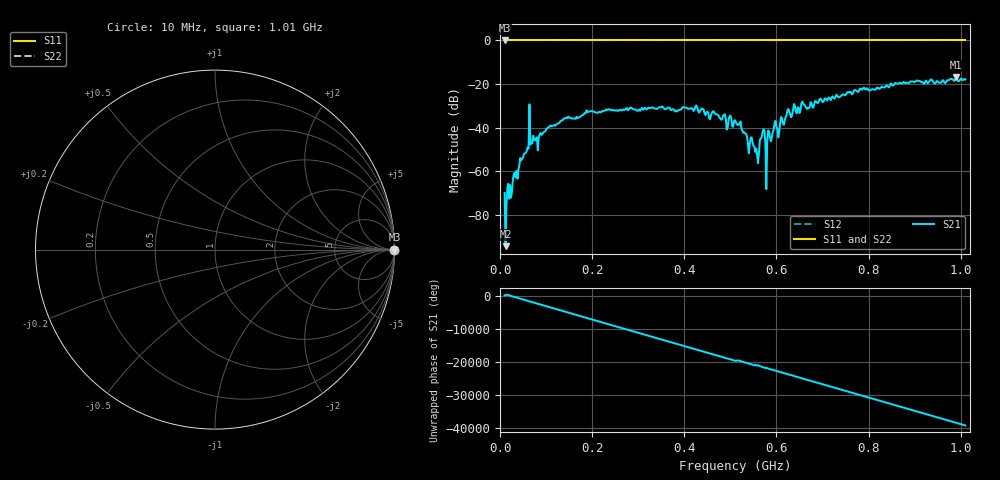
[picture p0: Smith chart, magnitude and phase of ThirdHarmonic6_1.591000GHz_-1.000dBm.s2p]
! 8/16/2025 6:57:23 PM
! C:\ANRITSUVNA\TEMP\TEMP.S2P
! CHANNEL.1
! TR.MEASUREMENT
! RAW.DATA
! RF.CORRECTION.OFF
! AVERAGING.OFF
! IF.BANDWIDTH: 5KHZ
! SWEEPTYPE:  FREQ.SWEEP(Linear)
! Reference Plane Port Info
! PORT:  PORT1  PORT2
! DISTANCE:  0  m  0  m
! TIME:  0  s  0  s
! PHASE.OFFSET:  0  deg.  0  deg.
! LOSS:  0  dB  0  dB
! REF.LOSS:  0  dB  0  dB
! REF.FREQ:  0  Hz  0  Hz
! Power Info
! POWER:  -20  dBm  -20  dBm
! EFF.POWER:  -20  dBm  -20  dBm
! SOURCE.ATTEN:  0  dB  0  dB
! TEST.ATTEN:  0  dB  0  dB
# GHZ S RI R 50.0
! FREQ.GHZ  S11RE  S11IM  S21RE  S21IM  S12RE  S12IM  S22RE  S22IM
!; PortSelection: Port_12
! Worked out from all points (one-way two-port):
!   501 points, 10 MHz to 1.01 GHz, reference 50 ohm
!   highest |S21| = -16.87 dB at 990 MHz (marker M1); lowest = -94.2 dB at 12 MHz (marker M2)
!   lowest |S11| = 0.0 dB at 10 MHz (marker M3)
!   |S11| at or under -10 dB: nowhere
!   |S22| runs from 0.0 to 0.0 dB; largest |S21 - S12| = 1.1
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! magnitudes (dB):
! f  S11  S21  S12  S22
! 10 MHz  0.0  -69.9  0.0  0.0
! 12 MHz  0.0  -94.2  0.0  0.0
! 68 MHz  0.0  -46.9  0.0  0.0
! 70 MHz  0.0  -47.1  0.0  0.0
! 78 MHz  0.0  -44.8  0.0  0.0
! 106 MHz  0.0  -39.7  0.0  0.0
! 178 MHz  0.0  -34.3  0.0  0.0
! 344 MHz  0.0  -30.9  0.0  0.0
! 426 MHz  0.0  -29.8  0.0  0.0
! 510 MHz  0.0  -36.5  0.0  0.0
! 558 MHz  0.0  -52.4  0.0  0.0
! 570 MHz  0.0  -41.9  0.0  0.0
! 574 MHz  0.0  -41.4  0.0  0.0
! 580 MHz  0.0  -46.0  0.0  0.0
! 584 MHz  0.0  -41.7  0.0  0.0
! 596 MHz  0.0  -37.8  0.0  0.0
! 604 MHz  0.0  -44.4  0.0  0.0
! 624 MHz  0.0  -31.8  0.0  0.0
! 678 MHz  0.0  -30.4  0.0  0.0
! 844 MHz  0.0  -21.5  0.0  0.0
! 990 MHz  0.0  -16.9  0.0  0.0
! 1.01 GHz  0.0  -17.9  0.0  0.0
